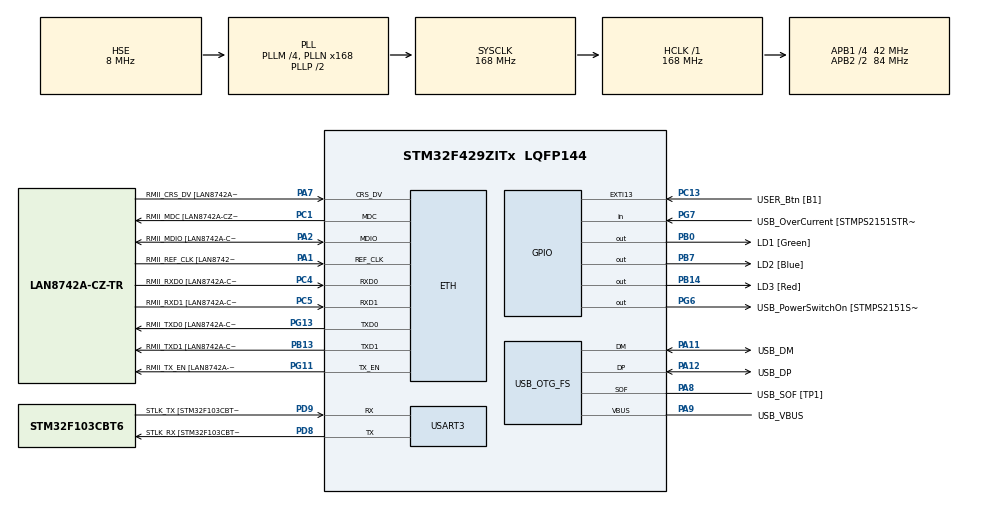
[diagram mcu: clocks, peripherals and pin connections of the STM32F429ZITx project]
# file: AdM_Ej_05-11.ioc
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ETH.MediaInterface=HAL_ETH_RMII_MODE
ETH.PHY_Name=LAN8742A_PHY_ADDRESS
ETH.PHY_Value=0
ETH.PhyAddress=0
Mcu.Family=STM32F4
Mcu.Name=STM32F429ZITx
Mcu.Package=LQFP144
NVIC.PriorityGroup=NVIC_PRIORITYGROUP_4
PA1.GPIO_Label=RMII_REF_CLK [LAN8742A-CZ-TR_REFCLK0]
PA1.Mode=RMII
PA1.Signal=ETH_REF_CLK
PA10.GPIO_Label=USB_ID
PA10.Signal=USB_OTG_FS_ID
PA11.GPIO_Label=USB_DM
PA11.Mode=Device_Only
PA11.Signal=USB_OTG_FS_DM
PA12.GPIO_Label=USB_DP
PA12.Mode=Device_Only
PA12.Signal=USB_OTG_FS_DP
PA13.GPIO_Label=TMS
PA13.Mode=Serial_Wire
PA13.Signal=SYS_JTMS-SWDIO
PA14.GPIO_Label=TCK
PA14.Mode=Serial_Wire
PA14.Signal=SYS_JTCK-SWCLK
PA2.GPIO_Label=RMII_MDIO [LAN8742A-CZ-TR_MDIO]
PA2.Mode=RMII
PA2.Signal=ETH_MDIO
PA7.GPIO_Label=RMII_CRS_DV [LAN8742A-CZ-TR_CRS_DV]
PA7.Mode=RMII
PA7.Signal=ETH_CRS_DV
PA8.GPIO_Label=USB_SOF [TP1]
PA8.Mode=Activate_SOF_FS
PA8.Signal=USB_OTG_FS_SOF
PA9.GPIO_Label=USB_VBUS
PA9.Mode=Activate_VBUS
PA9.Signal=USB_OTG_FS_VBUS
PB0.GPIO_Label=LD1 [Green]
PB0.Signal=GPIO_Output
PB13.GPIO_Label=RMII_TXD1 [LAN8742A-CZ-TR_TXD1]
PB13.Mode=RMII
PB13.Signal=ETH_TXD1
PB14.GPIO_Label=LD3 [Red]
PB14.Signal=GPIO_Output
PB7.GPIO_Label=LD2 [Blue]
PB7.Signal=GPIO_Output
PC1.GPIO_Label=RMII_MDC [LAN8742A-CZ-TR_MDC]
PC1.Mode=RMII
PC1.Signal=ETH_MDC
PC13.GPIO_Label=USER_Btn [B1]
PC13.Signal=GPXTI13
PC14/OSC32_IN.Mode=LSE-External-Oscillator
PC14/OSC32_IN.Signal=RCC_OSC32_IN
PC15/OSC32_OUT.Mode=LSE-External-Oscillator
PC15/OSC32_OUT.Signal=RCC_OSC32_OUT
PC4.GPIO_Label=RMII_RXD0 [LAN8742A-CZ-TR_RXD0]
PC4.Mode=RMII
PC4.Signal=ETH_RXD0
PC5.GPIO_Label=RMII_RXD1 [LAN8742A-CZ-TR_RXD1]
PC5.Mode=RMII
PC5.Signal=ETH_RXD1
PD8.GPIO_Label=STLK_RX [STM32F103CBT6_PA3]
PD8.Mode=Asynchronous
PD8.Signal=USART3_TX
PD9.GPIO_Label=STLK_TX [STM32F103CBT6_PA2]
PD9.Mode=Asynchronous
PD9.Signal=USART3_RX
PG11.GPIO_Label=RMII_TX_EN [LAN8742A-CZ-TR_TXEN]
PG11.Mode=RMII
PG11.Signal=ETH_TX_EN
PG13.GPIO_Label=RMII_TXD0 [LAN8742A-CZ-TR_TXD0]
PG13.Mode=RMII
PG13.Signal=ETH_TXD0
PG6.GPIO_Label=USB_PowerSwitchOn [STMPS2151STR_EN]
PG6.Signal=GPIO_Output
PG7.GPIO_Label=USB_OverCurrent [STMPS2151STR_FAULT]
PG7.Signal=GPIO_Input
PH0/OSC_IN.GPIO_Label=MCO [STM32F103CBT6_PA8]
PH0/OSC_IN.Mode=HSE-External-Clock-Source
PH0/OSC_IN.Signal=RCC_OSC_IN
PH1/OSC_OUT.Mode=HSE-External-Clock-Source
PH1/OSC_OUT.Signal=RCC_OSC_OUT
ProjectManager.HeapSize=0x200
ProjectManager.StackSize=0x400
ProjectManager.TargetToolchain=STM32CubeIDE
RCC.48MHZClocksFreq_Value=48000000
RCC.AHBFreq_Value=168000000
RCC.APB1CLKDivider=RCC_HCLK_DIV4
RCC.APB1Freq_Value=42000000
RCC.APB1TimFreq_Value=84000000
RCC.APB2CLKDivider=RCC_HCLK_DIV2
RCC.APB2Freq_Value=84000000
RCC.APB2TimCLKDivider=2
RCC.APB2TimFreq_Value=168000000
RCC.CortexFreq_Value=168000000
RCC.HCLKFreq_Value=168000000
RCC.HSE_VALUE=8000000
RCC.HSI_VALUE=16000000
RCC.PLLM=4
RCC.PLLMUL=RCC_PLL_MUL9
RCC.PLLN=168
RCC.PLLQ=7
RCC.PRESCALERUSB=RCC_USBCLKSOURCE_PLL_DIV1_5
RCC.SYSCLKFreq_VALUE=168000000
RCC.SYSCLKSource=RCC_SYSCLKSOURCE_PLLCLK
RCC.SYSCLKSourceVirtual=RCC_SYSCLKSOURCE_PLLCLK
RCC.USBFreq_Value=48000000
RCC.VCOOutputFreq_Value=336000000
USART3.VirtualMode=VM_ASYNC
USB_OTG_FS.VirtualMode=Device_Only
board=NUCLEO-F429ZI

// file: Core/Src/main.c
/* USER CODE BEGIN Header */
/**
  ******************************************************************************
  * @file           : main.c
  * @brief          : Main program body
  ******************************************************************************
  * @attention
  *
  * Copyright (c) 2023 STMicroelectronics.
  * All rights reserved.
  *
  * This software is licensed under terms that can be found in the LICENSE file
  * in the root directory of this software component.
  * If no LICENSE file comes with this software, it is provided AS-IS.
  *
  ******************************************************************************
  */
/* USER CODE END Header */
#include "main.h"
#include "string.h"

/* USER CODE BEGIN Includes */
#include "stdio.h"
#include "errno.h"
#include "stdlib.h"
#include "unistd.h"
#include "asm_func.h"
#include "funciones_c.h"
/* USER CODE END Includes */

ETH_TxPacketConfig TxConfig;
ETH_DMADescTypeDef  DMARxDscrTab[ETH_RX_DESC_CNT]; /* Ethernet Rx DMA Descriptors */
ETH_DMADescTypeDef  DMATxDscrTab[ETH_TX_DESC_CNT]; /* Ethernet Tx DMA Descriptors */

ETH_HandleTypeDef heth;

UART_HandleTypeDef huart3;

PCD_HandleTypeDef hpcd_USB_OTG_FS;

void SystemClock_Config(void);
static void MX_GPIO_Init(void);
static void MX_ETH_Init(void);
static void MX_USART3_UART_Init(void);
static void MX_USB_OTG_FS_PCD_Init(void);

/* USER CODE BEGIN 0 */
int _write(int file, char *data, int len)
{
   if ((file != STDOUT_FILENO) && (file != STDERR_FILENO))
   {
      errno = EBADF;
      return -1;
   }

   // arbitrary timeout 1000
   HAL_StatusTypeDef status =
      HAL_UART_Transmit(&huart3, (uint8_t*)data, len, 1000);

   // return # of bytes written - as best we can tell
   return (status == HAL_OK ? len : 0);
}
/* USER CODE END 0 */

int main(void)
{

  /* MCU Configuration--------------------------------------------------------*/

  /* Reset of all peripherals, Initializes the Flash interface and the Systick. */
  HAL_Init();

  /* USER CODE BEGIN Init */

  // Activa contador de ciclos (iniciar una sola vez)
  DWT->CTRL |= 1 << DWT_CTRL_CYCCNTENA_Pos;

  /* USER CODE END Init */

  /* Configure the system clock */
  SystemClock_Config();

  /* Initialize all configured peripherals */
  MX_GPIO_Init();
  MX_ETH_Init();
  MX_USART3_UART_Init();
  MX_USB_OTG_FS_PCD_Init();

  /* Infinite loop */
  /* USER CODE BEGIN WHILE */
  while (1)
  {

/////////////////////////////////////////////////////////////////////////////////////////////////////

	  // Filtro ventana

	  uint16_t vectorIn[20] = {2,5,76,23,55,12,12,33,1,0,24,78,6,8,9,66,33,94,21,12};
	  uint16_t vectorOut[20];
	  uint16_t vectorOut2[20];
	  int32_t vectorIn32[20] = {2,2432225,-766000,23500,-550000,12,120000,-33,1000000,0,2400000,-78,-60000,8,9,660000,33,-94000,21,12};
	  int16_t vectorOut16[20];
	  uint32_t longitud = 20;
	  uint32_t pos_max = 0;
	  filtroVentana10(vectorIn, vectorOut, longitud);
	  asm_filtroVentana10(vectorIn, vectorOut2, longitud);

/////////////////////////////////////////////////////////////////////////////////////////////////////

	  // Descartar cada N muestras

	  int32_t vector_down_In[20] = {2,5,76,23,55,12,12,33,1,0,24,78,6,8,9,66,33,94,21,12};
	  int32_t vector_down_Out[20];
	  int32_t vector_down_Out2[20];
	  uint32_t N = 5;
	  downsampleM (vector_down_In, vector_down_Out, longitud, N);
	  asm_downsampleM (vector_down_In, vector_down_Out2, longitud, N);
	  //asm_pack32to16 (vectorIn32, vectorOut16,longitud);
	  //pos_max = asm_max(vectorIn32, longitud);
	  //printf("\n\r%ld\n\r", pos_max);

///////////////////////////////////////////////////////////////////////////////////////////////////////

	  // Ej Invertir orden

	  uint16_t vector_ej_9[20] = {2,5,76,23,55,12,12,33,1,0,24,78,6,8,9,66,33,94,21,12};
	  invertir(vector_ej_9, longitud);
	  asm_invertir(vector_ej_9, longitud);

////////////////////////////////////////////////////////////////////////////////////////////////////////

	  // Prueba Eco

	  int16_t entrada[4096];
	  int16_t entrada_asm[4096];
	  int16_t entrada_asm_SIMD[4096];
	  int16_t entrada_asm_SIMD_10[4096];
	  longitud = 4096;
	  int aux = 30;
	  entrada[0] = 0;
	  entrada_asm[0] = 0;
	  entrada_asm_SIMD[0] = 0;
	  entrada_asm_SIMD_10[0] = 0;
	  for(uint32_t i = 1; i<longitud; i++){
		  entrada[i] = entrada[i-1] + aux;
		  entrada_asm[i] = entrada_asm[i-1] + aux;
		  entrada_asm_SIMD[i] = entrada_asm_SIMD[i-1] + aux;
		  entrada_asm_SIMD_10[i] = entrada_asm_SIMD_10[i-1] + aux;
		  if(entrada[i] > 6000 || entrada[i] < -6000){
			  aux = aux * (-1);
		  }
	  }

	  DWT->CYCCNT = 0; // Contador de ciclos a 0
	  eco(entrada, longitud);
	  volatile uint32_t Ciclos = DWT->CYCCNT; //183.311 ciclos / 32.162 ciclos optimizado y release

	  DWT->CYCCNT = 0;
	  asm_eco(entrada_asm, longitud);
	  Ciclos = DWT->CYCCNT; // 41.826 / 41.864 ciclos optimizado y release

	  DWT->CYCCNT = 0;
	  asm_eco_SIMD(entrada_asm_SIMD, longitud);
	  Ciclos = DWT->CYCCNT; // 20.943 20.924 ciclos optimizado y release

	  DWT->CYCCNT = 0;
	  asm_eco_SIMD_10(entrada_asm_SIMD_10, longitud);
	  Ciclos = DWT->CYCCNT; // 16.450 (sacrificando memoria de programa a cambio de velocidad)
	  	  	  	  	  	  	// 16.439 ciclos optimizado y release

	  // Imprimir resultados
	  /*
	  for(int i=0; i <longitud; i++){
		  printf("%d  -  %d  -  %d  -  %d\n\r", entrada[i], entrada_asm[i], entrada_asm_SIMD[i], entrada_asm_SIMD_10[i]);
	  }
      */

/////////////////////////////////////////////////////////////////////////////////////////////////////

	  // Correlación

	  longitud = 6;
	  int16_t vectorX[6] = {2,4,6,8,6,4};
	  int16_t vectorY[6] = {6,8,6,4,2,0};
	  int16_t vectorCorr[6] = {0,0,0,0,0,0};
	  int16_t vectorCorr_asm[6] = {0,0,0,0,0,0};
	  corr(vectorX, vectorY,vectorCorr, longitud);
	  //asm_corr(vectorX, vectorY, vectorCorr_asm, longitud);
	  asm_corr_SIMD(vectorX, vectorY, vectorCorr_asm, longitud);

	  while(1);
    /* USER CODE END WHILE */

  }
}

void SystemClock_Config(void)
{
  RCC_OscInitTypeDef RCC_OscInitStruct = {0};
  RCC_ClkInitTypeDef RCC_ClkInitStruct = {0};

  /** Configure the main internal regulator output voltage
  */
  __HAL_RCC_PWR_CLK_ENABLE();
  __HAL_PWR_VOLTAGESCALING_CONFIG(PWR_REGULATOR_VOLTAGE_SCALE1);

  /** Initializes the RCC Oscillators according to the specified parameters
  * in the RCC_OscInitTypeDef structure.
  */
  RCC_OscInitStruct.OscillatorType = RCC_OSCILLATORTYPE_HSE;
  RCC_OscInitStruct.HSEState = RCC_HSE_BYPASS;
  RCC_OscInitStruct.PLL.PLLState = RCC_PLL_ON;
  RCC_OscInitStruct.PLL.PLLSource = RCC_PLLSOURCE_HSE;
  RCC_OscInitStruct.PLL.PLLM = 4;
  RCC_OscInitStruct.PLL.PLLN = 168;
  RCC_OscInitStruct.PLL.PLLP = RCC_PLLP_DIV2;
  RCC_OscInitStruct.PLL.PLLQ = 7;
  if (HAL_RCC_OscConfig(&RCC_OscInitStruct) != HAL_OK)
  {
    Error_Handler();
  }

  /** Initializes the CPU, AHB and APB buses clocks
  */
  RCC_ClkInitStruct.ClockType = RCC_CLOCKTYPE_HCLK|RCC_CLOCKTYPE_SYSCLK
                              |RCC_CLOCKTYPE_PCLK1|RCC_CLOCKTYPE_PCLK2;
  RCC_ClkInitStruct.SYSCLKSource = RCC_SYSCLKSOURCE_PLLCLK;
  RCC_ClkInitStruct.AHBCLKDivider = RCC_SYSCLK_DIV1;
  RCC_ClkInitStruct.APB1CLKDivider = RCC_HCLK_DIV4;
  RCC_ClkInitStruct.APB2CLKDivider = RCC_HCLK_DIV2;

  if (HAL_RCC_ClockConfig(&RCC_ClkInitStruct, FLASH_LATENCY_5) != HAL_OK)
  {
    Error_Handler();
  }
}

static void MX_ETH_Init(void)
{

   static uint8_t MACAddr[6];

  heth.Instance = ETH;
  MACAddr[0] = 0x00;
  MACAddr[1] = 0x80;
  MACAddr[2] = 0xE1;
  MACAddr[3] = 0x00;
  MACAddr[4] = 0x00;
  MACAddr[5] = 0x00;
  heth.Init.MACAddr = &MACAddr[0];
  heth.Init.MediaInterface = HAL_ETH_RMII_MODE;
  heth.Init.TxDesc = DMATxDscrTab;
  heth.Init.RxDesc = DMARxDscrTab;
  heth.Init.RxBuffLen = 1524;

  if (HAL_ETH_Init(&heth) != HAL_OK)
  {
    Error_Handler();
  }

  memset(&TxConfig, 0 , sizeof(ETH_TxPacketConfig));
  TxConfig.Attributes = ETH_TX_PACKETS_FEATURES_CSUM | ETH_TX_PACKETS_FEATURES_CRCPAD;
  TxConfig.ChecksumCtrl = ETH_CHECKSUM_IPHDR_PAYLOAD_INSERT_PHDR_CALC;
  TxConfig.CRCPadCtrl = ETH_CRC_PAD_INSERT;

}

static void MX_USART3_UART_Init(void)
{

  huart3.Instance = USART3;
  huart3.Init.BaudRate = 115200;
  huart3.Init.WordLength = UART_WORDLENGTH_8B;
  huart3.Init.StopBits = UART_STOPBITS_1;
  huart3.Init.Parity = UART_PARITY_NONE;
  huart3.Init.Mode = UART_MODE_TX_RX;
  huart3.Init.HwFlowCtl = UART_HWCONTROL_NONE;
  huart3.Init.OverSampling = UART_OVERSAMPLING_16;
  if (HAL_UART_Init(&huart3) != HAL_OK)
  {
    Error_Handler();
  }

}

static void MX_USB_OTG_FS_PCD_Init(void)
{

  hpcd_USB_OTG_FS.Instance = USB_OTG_FS;
  hpcd_USB_OTG_FS.Init.dev_endpoints = 4;
  hpcd_USB_OTG_FS.Init.speed = PCD_SPEED_FULL;
  hpcd_USB_OTG_FS.Init.dma_enable = DISABLE;
  hpcd_USB_OTG_FS.Init.phy_itface = PCD_PHY_EMBEDDED;
  hpcd_USB_OTG_FS.Init.Sof_enable = ENABLE;
  hpcd_USB_OTG_FS.Init.low_power_enable = DISABLE;
  hpcd_USB_OTG_FS.Init.lpm_enable = DISABLE;
  hpcd_USB_OTG_FS.Init.vbus_sensing_enable = ENABLE;
  hpcd_USB_OTG_FS.Init.use_dedicated_ep1 = DISABLE;
  if (HAL_PCD_Init(&hpcd_USB_OTG_FS) != HAL_OK)
  {
    Error_Handler();
  }

}

static void MX_GPIO_Init(void)
{
  GPIO_InitTypeDef GPIO_InitStruct = {0};

  /* GPIO Ports Clock Enable */
  __HAL_RCC_GPIOC_CLK_ENABLE();
  __HAL_RCC_GPIOH_CLK_ENABLE();
  __HAL_RCC_GPIOA_CLK_ENABLE();
  __HAL_RCC_GPIOB_CLK_ENABLE();
  __HAL_RCC_GPIOD_CLK_ENABLE();
  __HAL_RCC_GPIOG_CLK_ENABLE();

  /*Configure GPIO pin Output Level */
  HAL_GPIO_WritePin(GPIOB, LD1_Pin|LD3_Pin|LD2_Pin, GPIO_PIN_RESET);

  /*Configure GPIO pin Output Level */
  HAL_GPIO_WritePin(USB_PowerSwitchOn_GPIO_Port, USB_PowerSwitchOn_Pin, GPIO_PIN_RESET);

  /*Configure GPIO pin : USER_Btn_Pin */
  GPIO_InitStruct.Pin = USER_Btn_Pin;
  GPIO_InitStruct.Mode = GPIO_MODE_IT_RISING;
  GPIO_InitStruct.Pull = GPIO_NOPULL;
  HAL_GPIO_Init(USER_Btn_GPIO_Port, &GPIO_InitStruct);

  /*Configure GPIO pins : LD1_Pin LD3_Pin LD2_Pin */
  GPIO_InitStruct.Pin = LD1_Pin|LD3_Pin|LD2_Pin;
  GPIO_InitStruct.Mode = GPIO_MODE_OUTPUT_PP;
  GPIO_InitStruct.Pull = GPIO_NOPULL;
  GPIO_InitStruct.Speed = GPIO_SPEED_FREQ_LOW;
  HAL_GPIO_Init(GPIOB, &GPIO_InitStruct);

  /*Configure GPIO pin : USB_PowerSwitchOn_Pin */
  GPIO_InitStruct.Pin = USB_PowerSwitchOn_Pin;
  GPIO_InitStruct.Mode = GPIO_MODE_OUTPUT_PP;
  GPIO_InitStruct.Pull = GPIO_NOPULL;
  GPIO_InitStruct.Speed = GPIO_SPEED_FREQ_LOW;
  HAL_GPIO_Init(USB_PowerSwitchOn_GPIO_Port, &GPIO_InitStruct);

  /*Configure GPIO pin : USB_OverCurrent_Pin */
  GPIO_InitStruct.Pin = USB_OverCurrent_Pin;
  GPIO_InitStruct.Mode = GPIO_MODE_INPUT;
  GPIO_InitStruct.Pull = GPIO_NOPULL;
  HAL_GPIO_Init(USB_OverCurrent_GPIO_Port, &GPIO_InitStruct);

}

void Error_Handler(void)
{
  __disable_irq();
  while (1)
  {
  }
}
